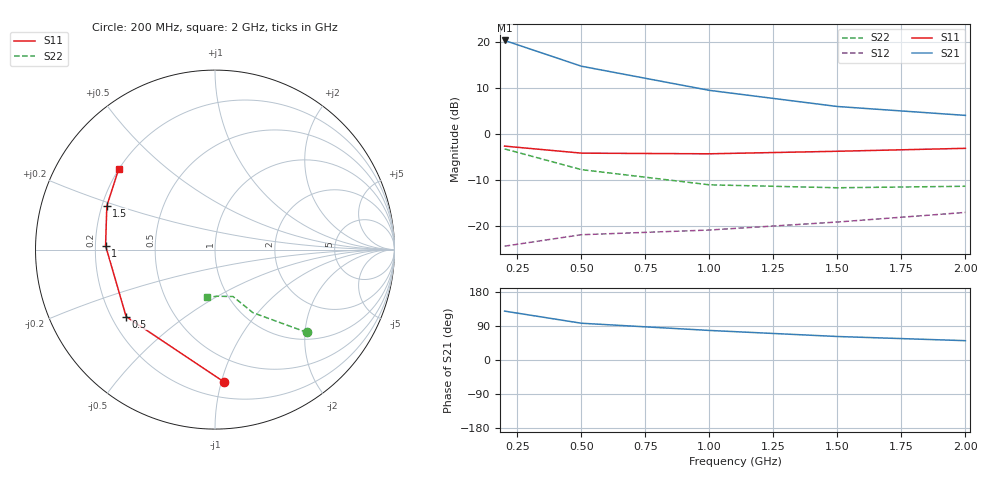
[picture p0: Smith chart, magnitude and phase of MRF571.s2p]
! Filename:  MRF571.S2P
! Bias condition: Vce=6V, Ic=5mA
#  MHz  S  MA  R  50
! Freq  S11  S21  S12  S22
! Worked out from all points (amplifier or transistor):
!   5 points, 200 MHz to 2 GHz, reference 50 ohm
!   highest |S21| = 20.4 dB at 200 MHz (marker M1)
!   |S21| within 3 dB of that: start of sweep to 360.2 MHz
!   unconditionally stable (mu >= 1): 961.6 MHz to end of sweep
!   at 200 MHz: K = 0.21, MSG = 22.4 dB, |S12| = -24.4 dB
!   at 1 GHz: K = 1.04, MAG = 14.1 dB, |S12| = -20.9 dB
!   at 2 GHz: K = 1.08, MAG = 8.9 dB, |S12| = -17.1 dB
!   S11 on the Smith chart (normalised r, x): 200 MHz: 0.31, -1.02; 500 MHz: 0.26, -0.31; 1 GHz: 0.24, +0.02; 1.5 GHz: 0.22, +0.19; 2 GHz: 0.20, +0.35
200  0.74 -86.0  10.5 129.0  0.06 48.0  0.69 -42.0
500  0.62 -143.0  5.5 97.0  0.08 33.0  0.41 -59.0
1000  0.61 178.0  3 78.0  0.09 37.0  0.28 -69.0
1500  0.65 158.0  2 62.0  0.11 44.0  0.26 -88.0
2000  0.7 140.0  1.6 51.0  0.14 51.0  0.27 -99.0
